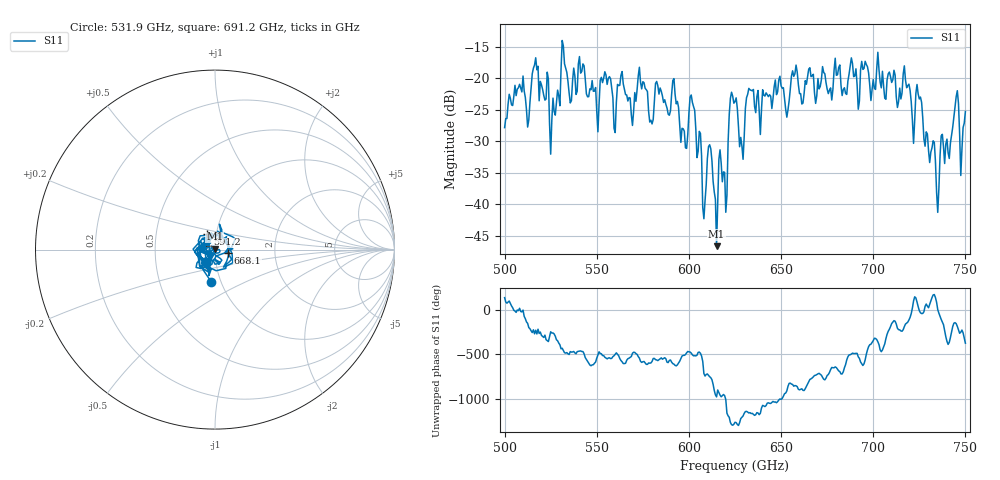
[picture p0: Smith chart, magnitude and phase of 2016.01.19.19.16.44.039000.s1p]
!Created with skrf (http://scikit-rf.org).
# GHz S RI R 50.0
!freq ReS11 ImS11
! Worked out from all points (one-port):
!   401 points, 500 GHz to 750 GHz, reference 50 ohm
!   lowest |S11| = -46.6 dB at 615 GHz (marker M1), VSWR 1.01, Z = 49.9 + j0.449 ohm
!   |S11| at or under -10 dB: start of sweep to end of sweep
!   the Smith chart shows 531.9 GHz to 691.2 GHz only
!   S11 on the Smith chart (normalised r, x): 531.9 GHz: 0.90, -0.33; 591.2 GHz: 0.90, +0.16; 668.1 GHz: 1.16, -0.05; 691.2 GHz: 0.89, -0.12
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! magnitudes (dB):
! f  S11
! 500 GHz  -27.8
! 513.1 GHz  -26.6
! 516.9 GHz  -16.8
! 525.6 GHz  -26.6
! 531.2 GHz  -14.0
! 531.9 GHz  -14.9
! 550 GHz  -25.2
! 562.5 GHz  -21.1
! 579.4 GHz  -26.7
! 591.2 GHz  -20.4
! 593.8 GHz  -23.7
! 598.1 GHz  -31.0
! 601.9 GHz  -23.8
! 608.1 GHz  -42.3
! 611.2 GHz  -30.6
! 615 GHz  -46.6
! 625 GHz  -23.7
! 628.8 GHz  -30.7
! 632.5 GHz  -21.6
! 656.2 GHz  -18.8
! 668.1 GHz  -22.3
! 687.5 GHz  -18.0
! 691.2 GHz  -21.1
! 718.8 GHz  -21.2
! 735 GHz  -41.3
! 745 GHz  -22.9
! 748.1 GHz  -31.3
! 750 GHz  -25.3
